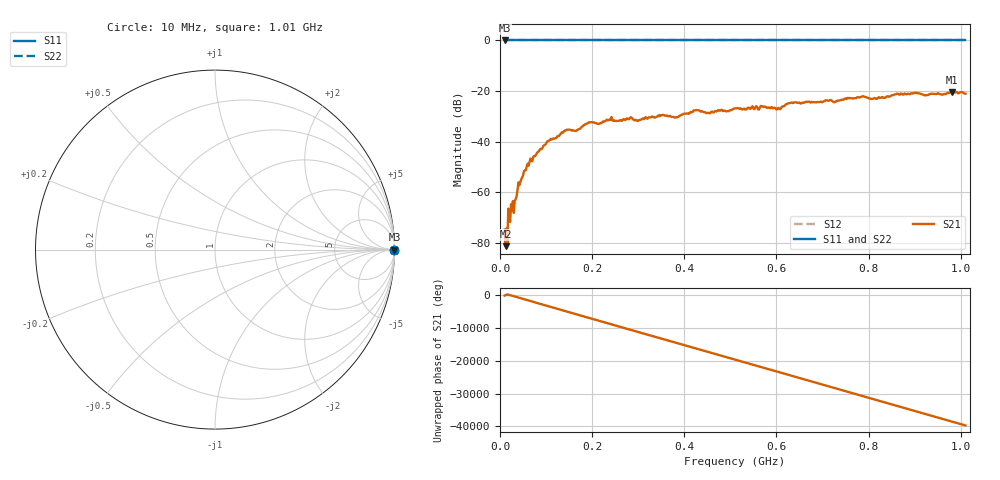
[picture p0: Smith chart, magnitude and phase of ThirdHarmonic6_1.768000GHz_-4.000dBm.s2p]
! 8/16/2025 9:21:01 PM
! C:\ANRITSUVNA\TEMP\TEMP.S2P
! CHANNEL.1
! TR.MEASUREMENT
! RAW.DATA
! RF.CORRECTION.OFF
! AVERAGING.OFF
! IF.BANDWIDTH: 5KHZ
! SWEEPTYPE:  FREQ.SWEEP(Linear)
! Reference Plane Port Info
! PORT:  PORT1  PORT2
! DISTANCE:  0  m  0  m
! TIME:  0  s  0  s
! PHASE.OFFSET:  0  deg.  0  deg.
! LOSS:  0  dB  0  dB
! REF.LOSS:  0  dB  0  dB
! REF.FREQ:  0  Hz  0  Hz
! Power Info
! POWER:  -20  dBm  -20  dBm
! EFF.POWER:  -20  dBm  -20  dBm
! SOURCE.ATTEN:  0  dB  0  dB
! TEST.ATTEN:  0  dB  0  dB
# GHZ S RI R 50.0
! FREQ.GHZ  S11RE  S11IM  S21RE  S21IM  S12RE  S12IM  S22RE  S22IM
!; PortSelection: Port_12
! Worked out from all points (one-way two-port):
!   501 points, 10 MHz to 1.01 GHz, reference 50 ohm
!   highest |S21| = -20.31 dB at 980 MHz (marker M1); lowest = -81.3 dB at 12 MHz (marker M2)
!   lowest |S11| = 0.0 dB at 10 MHz (marker M3)
!   |S11| at or under -10 dB: nowhere
!   |S22| runs from 0.0 to 0.0 dB; largest |S21 - S12| = 1.1
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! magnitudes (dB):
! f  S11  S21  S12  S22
! 10 MHz  0.0  -74.7  0.0  0.0
! 12 MHz  0.0  -81.3  0.0  0.0
! 22 MHz  0.0  -71.7  0.0  0.0
! 34 MHz  0.0  -62.7  0.0  0.0
! 44 MHz  0.0  -56.0  0.0  0.0
! 62 MHz  0.0  -49.5  0.0  0.0
! 106 MHz  0.0  -39.6  0.0  0.0
! 144 MHz  0.0  -35.4  0.0  0.0
! 178 MHz  0.0  -34.1  0.0  0.0
! 238 MHz  0.0  -31.2  0.0  0.0
! 302 MHz  0.0  -31.5  0.0  0.0
! 344 MHz  0.0  -29.6  0.0  0.0
! 382 MHz  0.0  -30.4  0.0  0.0
! 424 MHz  0.0  -27.6  0.0  0.0
! 452 MHz  0.0  -28.6  0.0  0.0
! 510 MHz  0.0  -26.9  0.0  0.0
! 604 MHz  0.0  -26.6  0.0  0.0
! 630 MHz  0.0  -24.7  0.0  0.0
! 678 MHz  0.0  -24.5  0.0  0.0
! 844 MHz  0.0  -22.2  0.0  0.0
! 980 MHz  0.0  -20.3  0.0  0.0
! 1.01 GHz  0.0  -21.0  0.0  0.0
